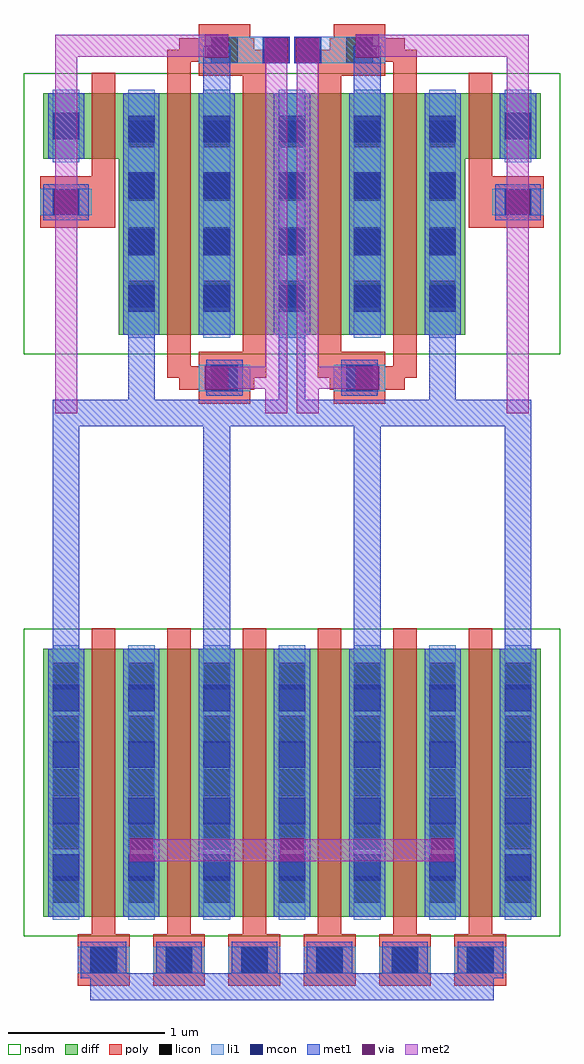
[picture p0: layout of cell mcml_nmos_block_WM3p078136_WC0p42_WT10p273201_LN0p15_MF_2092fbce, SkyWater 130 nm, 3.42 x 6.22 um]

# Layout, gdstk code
import gdstk
lib = gdstk.Library(unit=1e-6, precision=1e-09)
def R(c, l, rs):  # rectangles x0, y0, x1, y1
    for r in rs: c.add(gdstk.rectangle(r[:2], r[2:], *l))
def A(c, l, x, y, w, h, nx, ny, dx, dy):  # array of equal rectangles
    R(c, l, [(x+i*dx, y+j*dy, x+i*dx+w, y+j*dy+h) for i in range(nx) for j in range(ny)])
def P(c, l, *ps):  # polygons
    for p in ps: c.add(gdstk.Polygon(p, *l))
diff = (65, 20)
poly = (66, 20)
licon = (66, 44)
li1 = (67, 20)
mcon = (67, 44)
met1 = (68, 20)
via = (68, 44)
met2 = (69, 20)
nsdm = (93, 44)

mcml_nmos_block_wm3p0781 = lib.new_cell('mcml_nmos_block_WM3p078136_WC0p42_WT10p273201_LN0p15_MF_2092fbce')
A(mcml_nmos_block_wm3p0781, diff, -1.105, -0.77, 0.29, 1.54, 5, 1, 0.48, 0)
A(mcml_nmos_block_wm3p0781, diff, -0.855, -0.77, 0.27, 1.54, 4, 1, 0.48, 0)
R(mcml_nmos_block_wm3p0781, diff, [(-1.585,-4.48,1.585,-2.77), (-1.585,0.35,-1.295,0.77), (-1.335,0.35,-1.065,0.77), (1.065,0.35,1.335,0.77), (1.295,0.35,1.585,0.77)])
A(mcml_nmos_block_wm3p0781, poly, -1.365, -4.92, 0.33, 0.33, 6, 1, 0.48, 0)
A(mcml_nmos_block_wm3p0781, poly, -1.275, -4.755, 0.15, 0.145, 6, 1, 0.48, 0)
A(mcml_nmos_block_wm3p0781, poly, -1.275, -4.61, 0.15, 1.97, 6, 1, 0.48, 0)
A(mcml_nmos_block_wm3p0781, poly, -0.795, -1.045, 0.15, 0.145, 4, 2, 0.48, 1.945)
A(mcml_nmos_block_wm3p0781, poly, -0.795, -0.9, 0.15, 1.8, 4, 1, 0.48, 0)
R(mcml_nmos_block_wm3p0781, poly, [(-0.595,-1.21,-0.265,-0.88), (0.265,-1.21,0.595,-0.88), (-0.72,-1.12,-0.24,-0.97), (0.24,-1.12,0.72,-0.97), (-1.605,-0.09,-1.275,0.24), (-1.275,-0.09,-1.125,0.22), (1.125,-0.09,1.275,0.22), (1.275,-0.09,1.605,0.24), (-1.275,0.22,-1.125,0.9), (1.125,0.22,1.275,0.9), (-0.595,0.88,-0.265,1.21), (0.265,0.88,0.595,1.21), (-0.72,0.97,-0.24,1.12), (0.24,0.97,0.72,1.12)])
P(mcml_nmos_block_wm3p0781, poly, [(-1.275,-0.09),(-1.275,0.24),(-1.275,0.24),(-1.275,-0.09)],
  [(1.275,-0.09),(1.275,0.24),(1.275,0.24),(1.275,-0.09)])
A(mcml_nmos_block_wm3p0781, licon, -1.285, -4.84, 0.17, 0.17, 6, 1, 0.48, 0)
A(mcml_nmos_block_wm3p0781, licon, -1.525, -4.39, 0.17, 0.17, 7, 5, 0.48, 0.34)
A(mcml_nmos_block_wm3p0781, licon, -1.045, -0.595, 0.17, 0.17, 5, 4, 0.48, 0.34)
R(mcml_nmos_block_wm3p0781, licon, [(-0.515,-1.13,-0.345,-0.96), (0.345,-1.13,0.515,-0.96), (-1.525,-0.01,-1.355,0.16), (1.355,-0.01,1.525,0.16), (-1.525,0.475,-1.355,0.645), (1.355,0.475,1.525,0.645), (-0.515,0.96,-0.345,1.13), (0.345,0.96,0.515,1.13)])
A(mcml_nmos_block_wm3p0781, li1, -1.365, -4.84, 0.33, 0.17, 6, 1, 0.48, 0)
A(mcml_nmos_block_wm3p0781, li1, -1.525, -4.5, 0.17, 1.75, 7, 1, 0.48, 0)
A(mcml_nmos_block_wm3p0781, li1, -1.045, -0.79, 0.17, 1.58, 5, 1, 0.48, 0)
R(mcml_nmos_block_wm3p0781, li1, [(-0.595,-1.13,-0.265,-0.96), (0.265,-1.13,0.595,-0.96), (-1.605,-0.01,-1.275,0.16), (1.275,-0.01,1.605,0.16), (-1.525,0.33,-1.355,0.79), (1.355,0.33,1.525,0.79), (-0.595,0.96,-0.265,1.13), (-0.565,0.96,-0.015,1.13), (0.015,0.96,0.565,1.13), (0.265,0.96,0.595,1.13)])
A(mcml_nmos_block_wm3p0781, mcon, -1.285, -4.84, 0.17, 0.17, 6, 1, 0.48, 0)
A(mcml_nmos_block_wm3p0781, mcon, -1.525, -4.25, 0.17, 0.17, 7, 4, 0.48, 0.36)
A(mcml_nmos_block_wm3p0781, mcon, -1.045, -0.625, 0.17, 0.17, 5, 4, 0.48, 0.36)
R(mcml_nmos_block_wm3p0781, mcon, [(-0.515,-1.13,-0.345,-0.96), (0.345,-1.13,0.515,-0.96), (-1.525,-0.01,-1.355,0.16), (1.355,-0.01,1.525,0.16), (-1.525,0.475,-1.355,0.645), (1.355,0.475,1.525,0.645), (-0.185,0.96,-0.015,1.13), (0.015,0.96,0.185,1.13)])
A(mcml_nmos_block_wm3p0781, met1, -1.285, -4.925, 0.17, 0.17, 6, 1, 0.48, 0)
A(mcml_nmos_block_wm3p0781, met1, -1.345, -4.87, 0.29, 0.23, 6, 1, 0.48, 0)
A(mcml_nmos_block_wm3p0781, met1, -1.555, -4.48, 0.23, 1.71, 7, 1, 0.48, 0)
A(mcml_nmos_block_wm3p0781, met1, -1.525, -2.77, 0.17, 1.585, 4, 1, 0.96, 0)
A(mcml_nmos_block_wm3p0781, met1, -1.045, -1.355, 0.17, 0.585, 3, 1, 0.96, 0)
A(mcml_nmos_block_wm3p0781, met1, -1.075, -0.77, 0.23, 1.54, 5, 1, 0.48, 0)
R(mcml_nmos_block_wm3p0781, met1, [(-1.285,-5.01,1.285,-4.84), (-1.525,-1.355,1.525,-1.185), (-0.545,-1.16,-0.315,-0.93), (0.315,-1.16,0.545,-0.93), (-1.585,-0.04,-1.295,0.19), (1.295,-0.04,1.585,0.19), (-1.555,0.35,-1.325,0.77), (1.325,0.35,1.555,0.77), (-0.565,0.77,-0.395,1.07), (0.395,0.77,0.565,1.07), (-0.185,0.96,-0.015,1.13), (0.015,0.96,0.185,1.13)])
A(mcml_nmos_block_wm3p0781, via, -1.035, -4.13, 0.15, 0.15, 3, 1, 0.96, 0)
R(mcml_nmos_block_wm3p0781, via, [(-0.555,-1.12,-0.405,-0.97), (0.405,-1.12,0.555,-0.97), (-1.515,0,-1.365,0.15), (1.365,0,1.515,0.15), (-0.175,0.97,-0.025,1.12), (0.025,0.97,0.175,1.12), (-0.555,0.995,-0.405,1.145), (0.405,0.995,0.555,1.145)])
R(mcml_nmos_block_wm3p0781, met2, [(-1.03,-4.125,1.03,-3.985), (-1.51,-1.27,-1.37,1.14), (-0.17,-1.27,-0.03,1.115), (-0.17,-1.27,-0.03,-1.115), (0.03,-1.27,0.17,1.115), (0.03,-1.27,0.17,-1.115), (1.37,-1.27,1.51,1.14), (-0.55,-1.115,-0.03,-0.975), (0.03,-1.115,0.55,-0.975), (-1.51,1,-0.41,1.14), (0.41,1,1.51,1.14)])
R(mcml_nmos_block_wm3p0781, nsdm, [(-1.71,-4.605,1.71,-2.645), (-1.71,-0.895,1.71,0.895)])

lib.write_gds('mcml_nmos_block_WM3p078136_WC0p42_WT10p273201_LN0p15_MF_2092fbce.gds')
